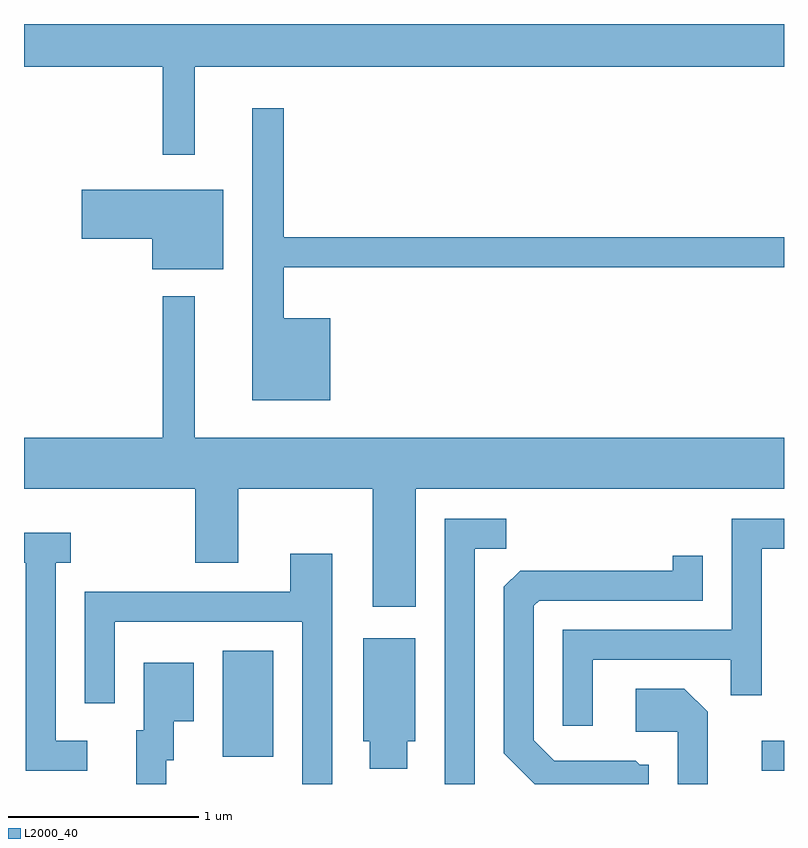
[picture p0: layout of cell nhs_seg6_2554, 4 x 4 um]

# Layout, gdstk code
import gdstk
lib = gdstk.Library(unit=1e-6, precision=1e-09)
def R(c, l, rs):  # rectangles x0, y0, x1, y1
    for r in rs: c.add(gdstk.rectangle(r[:2], r[2:], *l))
def P(c, l, *ps):  # polygons
    for p in ps: c.add(gdstk.Polygon(p, *l))
L2000_40 = (2000, 40)

nhs_seg6_2554 = lib.new_cell('nhs_seg6_2554')
R(nhs_seg6_2554, L2000_40, [(265.493,1646.231,265.611,1646.389), (262.656,1646.306,262.924,1646.864)])
P(nhs_seg6_2554, L2000_40, [(262.509,1649.936),(265.611,1649.936),(265.611,1650.162),(261.611,1650.162),(261.611,1649.936),(262.341,1649.936),(262.341,1649.473),(262.509,1649.473)],
  [(263.224,1648.614),(262.979,1648.614),(262.979,1648.881),(265.611,1648.881),(265.611,1649.039),(262.979,1649.039),(262.979,1649.718),(262.811,1649.718),(262.811,1648.181),(263.224,1648.181)],
  [(262.659,1649.289),(261.916,1649.289),(261.916,1649.031),(262.286,1649.031),(262.286,1648.871),(262.659,1648.871)],
  [(263.674,1647.716),(265.611,1647.716),(265.611,1647.984),(262.509,1647.984),(262.509,1648.728),(262.341,1648.728),(262.341,1647.984),(261.611,1647.984),(261.611,1647.716),(262.511,1647.716),(262.511,1647.326),(262.739,1647.326),(262.739,1647.716),(263.446,1647.716),(263.446,1647.096),(263.674,1647.096)],
  [(263.984,1647.401),(264.148,1647.401),(264.148,1647.559),(263.826,1647.559),(263.826,1646.162),(263.984,1646.162)],
  [(264.604,1646.816),(265.331,1646.816),(265.331,1646.628),(265.494,1646.628),(265.494,1647.401),(265.611,1647.401),(265.611,1647.559),(265.336,1647.559),(265.336,1646.974),(264.446,1646.974),(264.446,1646.468),(264.604,1646.468)],
  [(261.943,1646.389),(261.779,1646.389),(261.779,1647.326),(261.858,1647.326),(261.858,1647.484),(261.611,1647.484),(261.611,1647.326),(261.621,1647.326),(261.621,1646.231),(261.943,1646.231)],
  [(263.234,1647.374),(263.011,1647.374),(263.011,1647.174),(261.931,1647.174),(261.931,1646.588),(262.089,1646.588),(262.089,1647.016),(263.076,1647.016),(263.076,1646.162),(263.234,1646.162)],
  [(264.899,1646.264),(264.852,1646.264),(264.832,1646.284),(264.402,1646.284),(264.294,1646.392),(264.294,1647.099),(264.322,1647.126),(265.184,1647.126),(265.184,1647.363),(265.026,1647.363),(265.026,1647.284),(264.222,1647.284),(264.136,1647.199),(264.136,1646.324),(264.298,1646.162),(264.899,1646.162)],
  [(263.629,1646.386),(263.669,1646.386),(263.669,1646.929),(263.396,1646.929),(263.396,1646.386),(263.431,1646.386),(263.431,1646.241),(263.629,1646.241)],
  [(262.359,1646.286),(262.399,1646.286),(262.399,1646.491),(262.504,1646.491),(262.504,1646.799),(262.241,1646.799),(262.241,1646.444),(262.201,1646.444),(262.201,1646.162),(262.359,1646.162)],
  [(265.209,1646.542),(265.087,1646.664),(264.831,1646.664),(264.831,1646.436),(265.051,1646.436),(265.051,1646.162),(265.209,1646.162)])

lib.write_gds('nhs_seg6_2554.gds')
